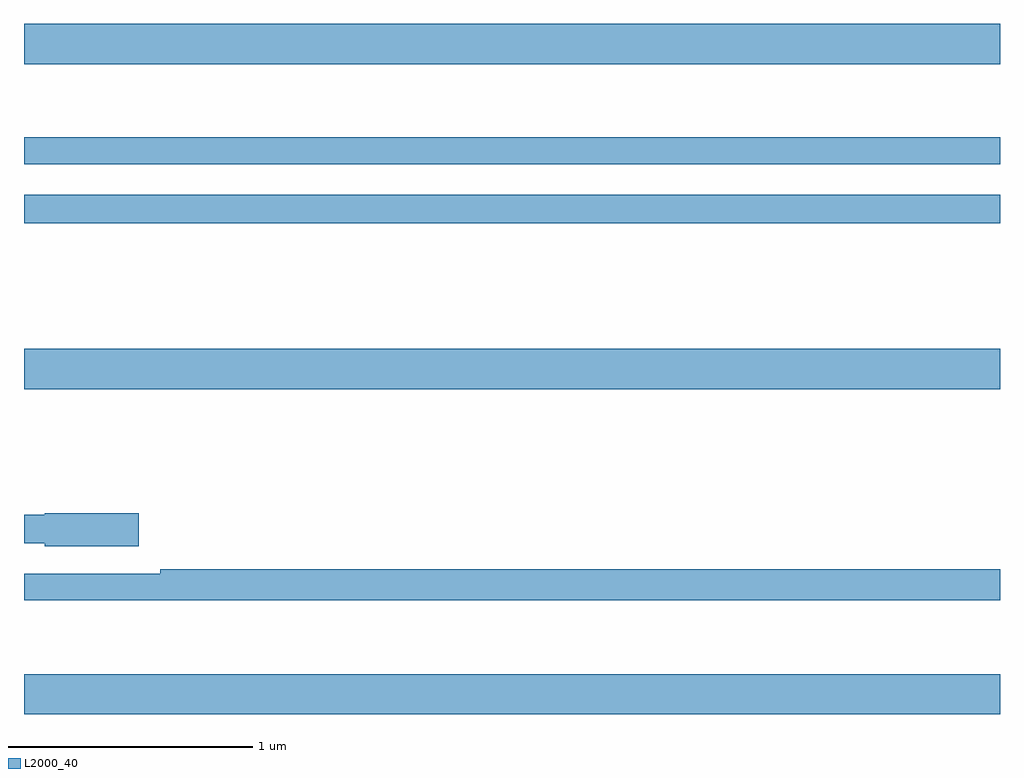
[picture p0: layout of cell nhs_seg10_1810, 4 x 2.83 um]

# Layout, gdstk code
import gdstk
lib = gdstk.Library(unit=1e-6, precision=1e-09)
def R(c, l, rs):  # rectangles x0, y0, x1, y1
    for r in rs: c.add(gdstk.rectangle(r[:2], r[2:], *l))
def A(c, l, x, y, w, h, nx, ny, dx, dy):  # array of equal rectangles
    R(c, l, [(x+i*dx, y+j*dy, x+i*dx+w, y+j*dy+h) for i in range(nx) for j in range(ny)])
def P(c, l, *ps):  # polygons
    for p in ps: c.add(gdstk.Polygon(p, *l))
L2000_40 = (2000, 40)

nhs_seg10_1810 = lib.new_cell('nhs_seg10_1810')
A(nhs_seg10_1810, L2000_40, 205, 1317.632, 4, 0.164, 1, 3, 0, 1.332)
R(nhs_seg10_1810, L2000_40, [(205,1319.644,209,1319.76), (205,1319.886,209,1319.995)])
P(nhs_seg10_1810, L2000_40, [(205.471,1318.454),(205.086,1318.454),(205.086,1318.448),(205,1318.448),(205,1318.332),(205.086,1318.332),(205.086,1318.319),(205.471,1318.319)],
  [(209,1318.226),(205.558,1318.226),(205.558,1318.206),(205,1318.206),(205,1318.098),(209,1318.098)])

lib.write_gds('nhs_seg10_1810.gds')
